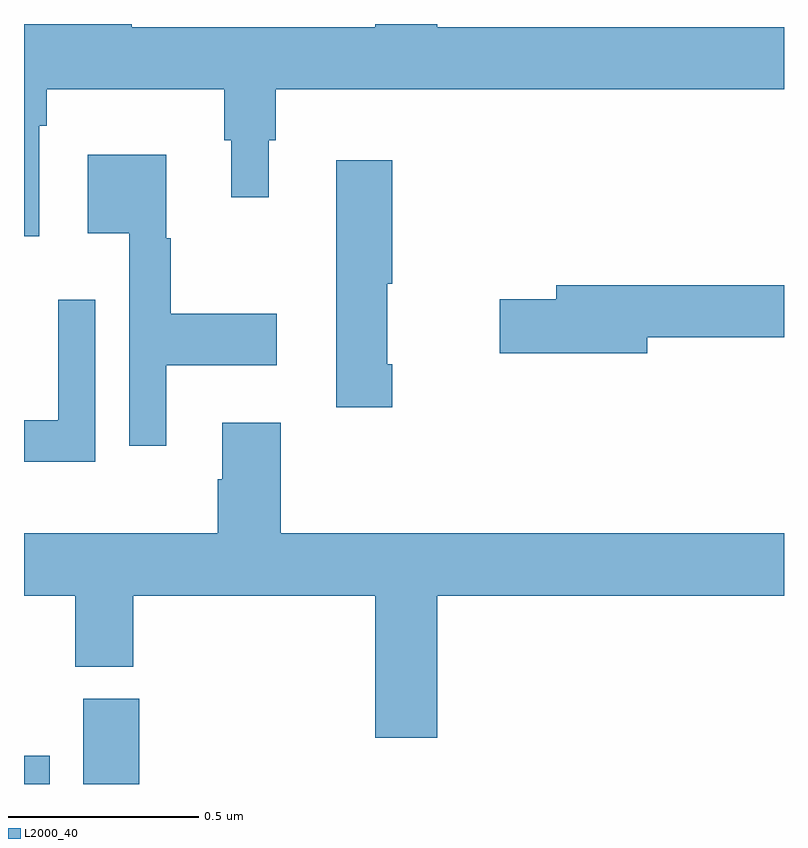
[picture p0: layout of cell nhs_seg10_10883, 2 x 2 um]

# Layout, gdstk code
import gdstk
lib = gdstk.Library(unit=1e-6, precision=1e-09)
def R(c, l, rs):  # rectangles x0, y0, x1, y1
    for r in rs: c.add(gdstk.rectangle(r[:2], r[2:], *l))
def P(c, l, *ps):  # polygons
    for p in ps: c.add(gdstk.Polygon(p, *l))
L2000_40 = (2000, 40)

nhs_seg10_10883 = lib.new_cell('nhs_seg10_10883')
R(nhs_seg10_10883, L2000_40, [(248,1286.5,248.068,1286.575), (248.156,1286.5,248.303,1286.724)])
P(nhs_seg10_10883, L2000_40, [(248.04,1288.232),(248.06,1288.232),(248.06,1288.328),(248.527,1288.328),(248.527,1288.194),(248.546,1288.194),(248.546,1288.044),(248.644,1288.044),(248.644,1288.194),(248.663,1288.194),(248.663,1288.328),(250,1288.328),(250,1288.492),(249.088,1288.492),(249.088,1288.5),(248.924,1288.5),(248.924,1288.492),(248.284,1288.492),(248.284,1288.5),(248,1288.5),(248,1287.942),(248.04,1287.942)],
  [(248.374,1287.602),(248.665,1287.602),(248.665,1287.737),(248.386,1287.737),(248.386,1287.936),(248.374,1287.936),(248.374,1288.156),(248.168,1288.156),(248.168,1287.95),(248.277,1287.95),(248.277,1287.39),(248.374,1287.39)],
  [(248.969,1287.604),(248.956,1287.604),(248.956,1287.816),(248.969,1287.816),(248.969,1288.141),(248.822,1288.141),(248.822,1287.492),(248.969,1287.492)],
  [(249.64,1287.676),(250,1287.676),(250,1287.812),(249.401,1287.812),(249.401,1287.776),(249.252,1287.776),(249.252,1287.634),(249.64,1287.634)],
  [(248.187,1287.775),(248.09,1287.775),(248.09,1287.457),(248,1287.457),(248,1287.348),(248.187,1287.348)],
  [(249.088,1286.996),(250,1286.996),(250,1287.16),(248.675,1287.16),(248.675,1287.451),(248.522,1287.451),(248.522,1287.302),(248.51,1287.302),(248.51,1287.16),(248,1287.16),(248,1286.996),(248.135,1286.996),(248.135,1286.809),(248.288,1286.809),(248.288,1286.996),(248.924,1286.996),(248.924,1286.622),(249.088,1286.622)])

lib.write_gds('nhs_seg10_10883.gds')
